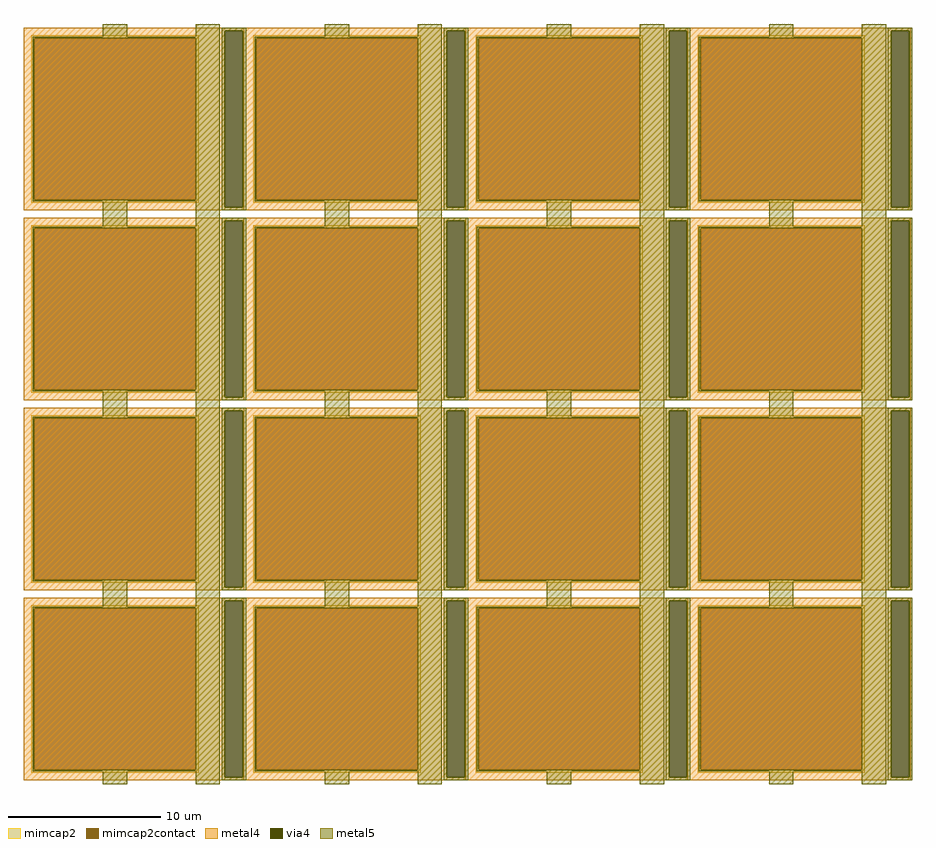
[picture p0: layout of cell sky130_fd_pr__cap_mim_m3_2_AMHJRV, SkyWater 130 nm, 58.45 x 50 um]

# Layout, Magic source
magic
tech sky130A
magscale 1 2
<< metal4 >>
rect -5834 4909 -2932 4950
rect -5834 2591 -3188 4909
rect -2952 2591 -2932 4909
rect -5834 2550 -2932 2591
rect -2912 4909 -10 4950
rect -2912 2591 -266 4909
rect -30 2591 -10 4909
rect -2912 2550 -10 2591
rect 10 4909 2912 4950
rect 10 2591 2656 4909
rect 2892 2591 2912 4909
rect 10 2550 2912 2591
rect 2932 4909 5834 4950
rect 2932 2591 5578 4909
rect 5814 2591 5834 4909
rect 2932 2550 5834 2591
rect -5834 2409 -2932 2450
rect -5834 91 -3188 2409
rect -2952 91 -2932 2409
rect -5834 50 -2932 91
rect -2912 2409 -10 2450
rect -2912 91 -266 2409
rect -30 91 -10 2409
rect -2912 50 -10 91
rect 10 2409 2912 2450
rect 10 91 2656 2409
rect 2892 91 2912 2409
rect 10 50 2912 91
rect 2932 2409 5834 2450
rect 2932 91 5578 2409
rect 5814 91 5834 2409
rect 2932 50 5834 91
rect -5834 -91 -2932 -50
rect -5834 -2409 -3188 -91
rect -2952 -2409 -2932 -91
rect -5834 -2450 -2932 -2409
rect -2912 -91 -10 -50
rect -2912 -2409 -266 -91
rect -30 -2409 -10 -91
rect -2912 -2450 -10 -2409
rect 10 -91 2912 -50
rect 10 -2409 2656 -91
rect 2892 -2409 2912 -91
rect 10 -2450 2912 -2409
rect 2932 -91 5834 -50
rect 2932 -2409 5578 -91
rect 5814 -2409 5834 -91
rect 2932 -2450 5834 -2409
rect -5834 -2591 -2932 -2550
rect -5834 -4909 -3188 -2591
rect -2952 -4909 -2932 -2591
rect -5834 -4950 -2932 -4909
rect -2912 -2591 -10 -2550
rect -2912 -4909 -266 -2591
rect -30 -4909 -10 -2591
rect -2912 -4950 -10 -4909
rect 10 -2591 2912 -2550
rect 10 -4909 2656 -2591
rect 2892 -4909 2912 -2591
rect 10 -4950 2912 -4909
rect 2932 -2591 5834 -2550
rect 2932 -4909 5578 -2591
rect 5814 -4909 5834 -2591
rect 2932 -4950 5834 -4909
<< via4 >>
rect -3188 2591 -2952 4909
rect -266 2591 -30 4909
rect 2656 2591 2892 4909
rect 5578 2591 5814 4909
rect -3188 91 -2952 2409
rect -266 91 -30 2409
rect 2656 91 2892 2409
rect 5578 91 5814 2409
rect -3188 -2409 -2952 -91
rect -266 -2409 -30 -91
rect 2656 -2409 2892 -91
rect 5578 -2409 5814 -91
rect -3188 -4909 -2952 -2591
rect -266 -4909 -30 -2591
rect 2656 -4909 2892 -2591
rect 5578 -4909 5814 -2591
<< mimcap2 >>
rect -5734 4810 -3534 4850
rect -5734 2690 -5694 4810
rect -3574 2690 -3534 4810
rect -5734 2650 -3534 2690
rect -2812 4810 -612 4850
rect -2812 2690 -2772 4810
rect -652 2690 -612 4810
rect -2812 2650 -612 2690
rect 110 4810 2310 4850
rect 110 2690 150 4810
rect 2270 2690 2310 4810
rect 110 2650 2310 2690
rect 3032 4810 5232 4850
rect 3032 2690 3072 4810
rect 5192 2690 5232 4810
rect 3032 2650 5232 2690
rect -5734 2310 -3534 2350
rect -5734 190 -5694 2310
rect -3574 190 -3534 2310
rect -5734 150 -3534 190
rect -2812 2310 -612 2350
rect -2812 190 -2772 2310
rect -652 190 -612 2310
rect -2812 150 -612 190
rect 110 2310 2310 2350
rect 110 190 150 2310
rect 2270 190 2310 2310
rect 110 150 2310 190
rect 3032 2310 5232 2350
rect 3032 190 3072 2310
rect 5192 190 5232 2310
rect 3032 150 5232 190
rect -5734 -190 -3534 -150
rect -5734 -2310 -5694 -190
rect -3574 -2310 -3534 -190
rect -5734 -2350 -3534 -2310
rect -2812 -190 -612 -150
rect -2812 -2310 -2772 -190
rect -652 -2310 -612 -190
rect -2812 -2350 -612 -2310
rect 110 -190 2310 -150
rect 110 -2310 150 -190
rect 2270 -2310 2310 -190
rect 110 -2350 2310 -2310
rect 3032 -190 5232 -150
rect 3032 -2310 3072 -190
rect 5192 -2310 5232 -190
rect 3032 -2350 5232 -2310
rect -5734 -2690 -3534 -2650
rect -5734 -4810 -5694 -2690
rect -3574 -4810 -3534 -2690
rect -5734 -4850 -3534 -4810
rect -2812 -2690 -612 -2650
rect -2812 -4810 -2772 -2690
rect -652 -4810 -612 -2690
rect -2812 -4850 -612 -4810
rect 110 -2690 2310 -2650
rect 110 -4810 150 -2690
rect 2270 -4810 2310 -2690
rect 110 -4850 2310 -4810
rect 3032 -2690 5232 -2650
rect 3032 -4810 3072 -2690
rect 5192 -4810 5232 -2690
rect 3032 -4850 5232 -4810
<< mimcap2contact >>
rect -5694 2690 -3574 4810
rect -2772 2690 -652 4810
rect 150 2690 2270 4810
rect 3072 2690 5192 4810
rect -5694 190 -3574 2310
rect -2772 190 -652 2310
rect 150 190 2270 2310
rect 3072 190 5192 2310
rect -5694 -2310 -3574 -190
rect -2772 -2310 -652 -190
rect 150 -2310 2270 -190
rect 3072 -2310 5192 -190
rect -5694 -4810 -3574 -2690
rect -2772 -4810 -652 -2690
rect 150 -4810 2270 -2690
rect 3072 -4810 5192 -2690
<< metal5 >>
rect -4794 4834 -4474 5000
rect -3574 4834 -3254 5000
rect -5718 4810 -3254 4834
rect -5718 2690 -5694 4810
rect -3574 2690 -3254 4810
rect -5718 2666 -3254 2690
rect -4794 2334 -4474 2666
rect -3574 2334 -3254 2666
rect -3230 4909 -2910 4951
rect -3230 2591 -3188 4909
rect -2952 2591 -2910 4909
rect -1872 4834 -1552 5000
rect -652 4834 -332 5000
rect -2796 4810 -332 4834
rect -2796 2690 -2772 4810
rect -652 2690 -332 4810
rect -2796 2666 -332 2690
rect -3230 2549 -2910 2591
rect -5718 2310 -3254 2334
rect -5718 190 -5694 2310
rect -3574 190 -3254 2310
rect -5718 166 -3254 190
rect -4794 -166 -4474 166
rect -3574 -166 -3254 166
rect -3230 2409 -2910 2451
rect -3230 91 -3188 2409
rect -2952 91 -2910 2409
rect -1872 2334 -1552 2666
rect -652 2334 -332 2666
rect -308 4909 12 4951
rect -308 2591 -266 4909
rect -30 2591 12 4909
rect 1050 4834 1370 5000
rect 2270 4834 2590 5000
rect 126 4810 2590 4834
rect 126 2690 150 4810
rect 2270 2690 2590 4810
rect 126 2666 2590 2690
rect -308 2549 12 2591
rect -2796 2310 -332 2334
rect -2796 190 -2772 2310
rect -652 190 -332 2310
rect -2796 166 -332 190
rect -3230 49 -2910 91
rect -5718 -190 -3254 -166
rect -5718 -2310 -5694 -190
rect -3574 -2310 -3254 -190
rect -5718 -2334 -3254 -2310
rect -4794 -2666 -4474 -2334
rect -3574 -2666 -3254 -2334
rect -3230 -91 -2910 -49
rect -3230 -2409 -3188 -91
rect -2952 -2409 -2910 -91
rect -1872 -166 -1552 166
rect -652 -166 -332 166
rect -308 2409 12 2451
rect -308 91 -266 2409
rect -30 91 12 2409
rect 1050 2334 1370 2666
rect 2270 2334 2590 2666
rect 2614 4909 2934 4951
rect 2614 2591 2656 4909
rect 2892 2591 2934 4909
rect 3972 4834 4292 5000
rect 5192 4834 5512 5000
rect 3048 4810 5512 4834
rect 3048 2690 3072 4810
rect 5192 2690 5512 4810
rect 3048 2666 5512 2690
rect 2614 2549 2934 2591
rect 126 2310 2590 2334
rect 126 190 150 2310
rect 2270 190 2590 2310
rect 126 166 2590 190
rect -308 49 12 91
rect -2796 -190 -332 -166
rect -2796 -2310 -2772 -190
rect -652 -2310 -332 -190
rect -2796 -2334 -332 -2310
rect -3230 -2451 -2910 -2409
rect -5718 -2690 -3254 -2666
rect -5718 -4810 -5694 -2690
rect -3574 -4810 -3254 -2690
rect -5718 -4834 -3254 -4810
rect -4794 -5000 -4474 -4834
rect -3574 -5000 -3254 -4834
rect -3230 -2591 -2910 -2549
rect -3230 -4909 -3188 -2591
rect -2952 -4909 -2910 -2591
rect -1872 -2666 -1552 -2334
rect -652 -2666 -332 -2334
rect -308 -91 12 -49
rect -308 -2409 -266 -91
rect -30 -2409 12 -91
rect 1050 -166 1370 166
rect 2270 -166 2590 166
rect 2614 2409 2934 2451
rect 2614 91 2656 2409
rect 2892 91 2934 2409
rect 3972 2334 4292 2666
rect 5192 2334 5512 2666
rect 5536 4909 5856 4951
rect 5536 2591 5578 4909
rect 5814 2591 5856 4909
rect 5536 2549 5856 2591
rect 3048 2310 5512 2334
rect 3048 190 3072 2310
rect 5192 190 5512 2310
rect 3048 166 5512 190
rect 2614 49 2934 91
rect 126 -190 2590 -166
rect 126 -2310 150 -190
rect 2270 -2310 2590 -190
rect 126 -2334 2590 -2310
rect -308 -2451 12 -2409
rect -2796 -2690 -332 -2666
rect -2796 -4810 -2772 -2690
rect -652 -4810 -332 -2690
rect -2796 -4834 -332 -4810
rect -3230 -4951 -2910 -4909
rect -1872 -5000 -1552 -4834
rect -652 -5000 -332 -4834
rect -308 -2591 12 -2549
rect -308 -4909 -266 -2591
rect -30 -4909 12 -2591
rect 1050 -2666 1370 -2334
rect 2270 -2666 2590 -2334
rect 2614 -91 2934 -49
rect 2614 -2409 2656 -91
rect 2892 -2409 2934 -91
rect 3972 -166 4292 166
rect 5192 -166 5512 166
rect 5536 2409 5856 2451
rect 5536 91 5578 2409
rect 5814 91 5856 2409
rect 5536 49 5856 91
rect 3048 -190 5512 -166
rect 3048 -2310 3072 -190
rect 5192 -2310 5512 -190
rect 3048 -2334 5512 -2310
rect 2614 -2451 2934 -2409
rect 126 -2690 2590 -2666
rect 126 -4810 150 -2690
rect 2270 -4810 2590 -2690
rect 126 -4834 2590 -4810
rect -308 -4951 12 -4909
rect 1050 -5000 1370 -4834
rect 2270 -5000 2590 -4834
rect 2614 -2591 2934 -2549
rect 2614 -4909 2656 -2591
rect 2892 -4909 2934 -2591
rect 3972 -2666 4292 -2334
rect 5192 -2666 5512 -2334
rect 5536 -91 5856 -49
rect 5536 -2409 5578 -91
rect 5814 -2409 5856 -91
rect 5536 -2451 5856 -2409
rect 3048 -2690 5512 -2666
rect 3048 -4810 3072 -2690
rect 5192 -4810 5512 -2690
rect 3048 -4834 5512 -4810
rect 2614 -4951 2934 -4909
rect 3972 -5000 4292 -4834
rect 5192 -5000 5512 -4834
rect 5536 -2591 5856 -2549
rect 5536 -4909 5578 -2591
rect 5814 -4909 5856 -2591
rect 5536 -4951 5856 -4909
<< properties >>
string gencell sky130_fd_pr__cap_mim_m3_2
string FIXED_BBOX 2932 2550 5332 4950
string parameters w 11.00 l 11.00 val 128.479 carea 1.00 cperi 0.17 nx 4 ny 4 dummy 0 square 0 lmin 2.00 wmin 2.00 lmax 30.0 wmax 30.0 dc 0 bconnect 1 tconnect 1 ccov 100
string library sky130
<< end >>
